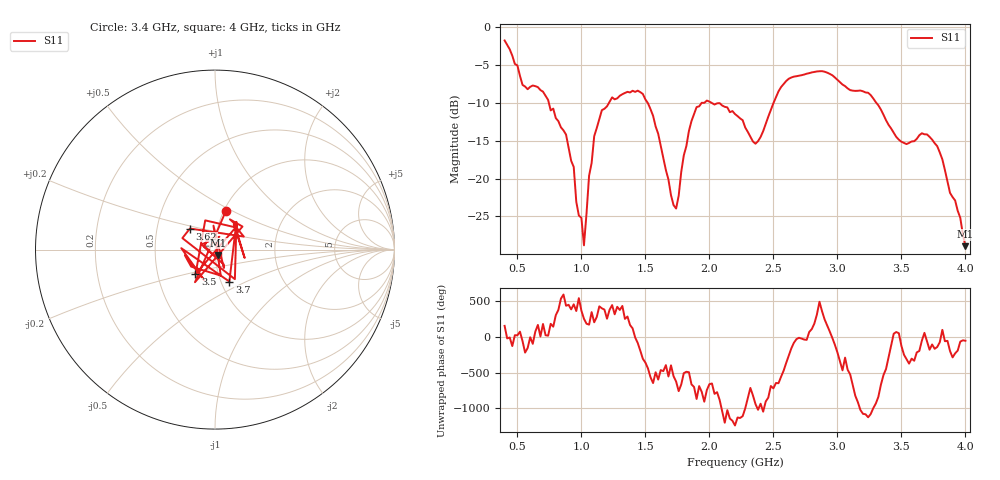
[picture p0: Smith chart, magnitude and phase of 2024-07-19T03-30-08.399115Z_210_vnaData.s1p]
!Created with skrf (http://scikit-rf.org).
# Hz S RI R 50.0
!freq ReS11 ImS11
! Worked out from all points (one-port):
!   181 points, 400 MHz to 4 GHz, reference 50 ohm
!   lowest |S11| = -28.9 dB at 4 GHz (marker M1), VSWR 1.07, Z = 51.9 - j3.14 ohm
!   |S11| at or under -10 dB: 745 MHz to 1.217 GHz (471.5 MHz wide, 48.1 % of centre); 2.014 GHz to 2.502 GHz (488.6 MHz wide, 21.6 % of centre); 3.302 GHz to end of sweep (the widest 3 of 4)
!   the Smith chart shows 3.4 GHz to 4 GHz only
!   S11 on the Smith chart (normalised r, x): 3.4 GHz: 1.02, +0.47; 3.5 GHz: 0.78, -0.22; 3.62 GHz: 0.74, +0.18; 3.7 GHz: 1.10, -0.41; 4 GHz: 1.04, -0.06
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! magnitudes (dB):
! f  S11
! 400 MHz  -1.8
! 540 MHz  -7.7
! 700 MHz  -8.6
! 860 MHz  -13.7
! 940 MHz  -18.5
! 960 MHz  -23.1
! 1.02 GHz  -28.8
! 1.06 GHz  -19.6
! 1.1 GHz  -14.4
! 1.16 GHz  -11.0
! 1.3 GHz  -9.1
! 1.48 GHz  -8.9
! 1.6 GHz  -14.1
! 1.72 GHz  -23.5
! 1.76 GHz  -22.3
! 1.8 GHz  -16.9
! 1.9 GHz  -10.6
! 2.2 GHz  -11.5
! 2.36 GHz  -15.4
! 2.66 GHz  -6.6
! 3.1 GHz  -8.4
! 3.4 GHz  -12.9
! 3.5 GHz  -15.2
! 3.56 GHz  -15.3
! 3.62 GHz  -14.8
! 3.7 GHz  -14.2
! 3.82 GHz  -17.5
! 4 GHz  -28.9
